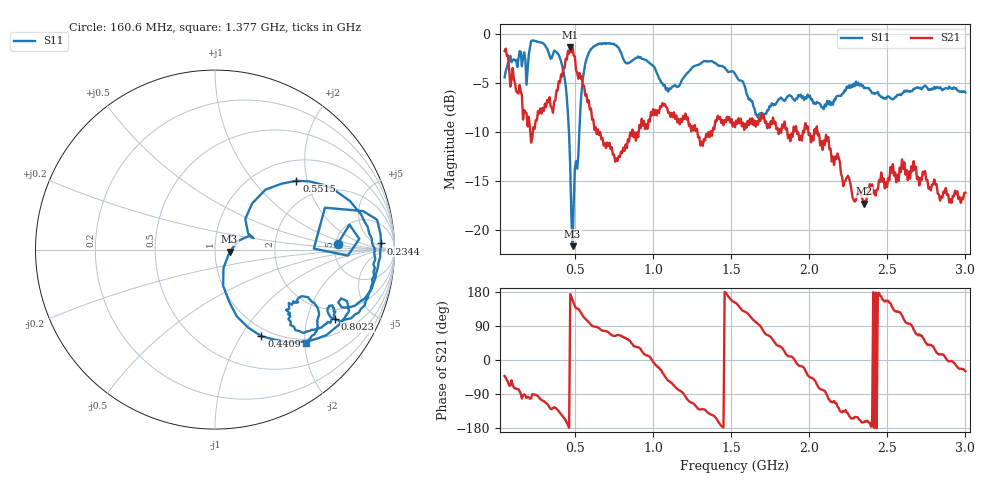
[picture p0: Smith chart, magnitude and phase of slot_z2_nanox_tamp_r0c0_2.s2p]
! nanovna_capture.py 2026-10-26T21:34:22+0900
! NanoVNA-F_V2 fw 0.6.0 SN 4A3639384505514B
! cal: load open short thru cal'ed  over 50000000-3000000000 Hz, 201 points
! points 401, avg 4
! slot line z=1.6, tampered Nano X, 0 deg, centred, placement 2
# HZ S RI R 50
! S12 and S22 are not measured (written as 0)
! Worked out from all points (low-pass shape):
!   401 points, 50 MHz to 3 GHz, reference 50 ohm
!   highest |S21| = -1.34 dB at 470.4 MHz (marker M1); lowest = -17.3 dB at 2.351 GHz (marker M2)
!   |S21| within 3 dB of the highest: start of sweep to 82.29 MHz; 418.9 MHz to 519.3 MHz (100.4 MHz wide, 21.4 % of centre) (the widest 2 of 6)
!   lowest |S11| = -21.7 dB at 485.1 MHz (marker M3), VSWR 1.18, Z = 58.9 - j1.41 ohm
!   |S11| at or under -10 dB: 461.7 MHz to 528.4 MHz (66.68 MHz wide, 13.5 % of centre)
!   S12 and S22 are empty: the file has one direction only
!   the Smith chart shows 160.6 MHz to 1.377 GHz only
!   S11 on the Smith chart (normalised r, x): 160.6 MHz: 5.25, +0.61; 234.4 MHz: 21, +10; 440.9 MHz: 0.89, -1.23; 551.5 MHz: 1.45, +1.72; 802.2 MHz: 1.56, -2.98; 1.377 GHz: 0.92, -2.02
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5e7  0.3945 0.4521  0.6048 -0.5503  0 0  0 0
1.60625e8  0.6829 0.0307  -0.0985 -0.4754  0 0  0 0
2.34375e8  0.925 0.034  -0.00643 -0.3338  0 0  0 0
3.81875e8  0.6939 -0.4159  -0.3196 -0.403  0 0  0 0
4.40875e8  0.2582 -0.4823  -0.6982 -0.2658  0 0  0 0
4.70375e8  0.0455 -0.2021  -0.8521 0.0926  0 0  0 0
4.85125e8  0.0816 -0.0119  -0.7929 0.3122  0 0  0 0
5.44125e8  0.3708 0.3669  -0.3107 0.5219  0 0  0 0
5.515e8  0.4533 0.384  -0.2373 0.4885  0 0  0 0
6.4e8  0.8765 0.0309  0.0132 0.3074  0 0  0 0
8.0225e8  0.6679 -0.386  0.1179 0.2158  0 0  0 0
1.03825e9  0.4195 -0.4195  0.3712 -0.1345  0 0  0 0
1.193125e9  0.5257 -0.2762  0.0168 -0.3813  0 0  0 0
1.3775e9  0.5063 -0.5211  -0.2473 -0.1733  0 0  0 0
1.525e9  0.2903 -0.5537  -0.2931 0.1596  0 0  0 0
1.694625e9  0.2154 -0.331  0.0339 0.3871  0 0  0 0
1.842125e9  0.2925 -0.3475  0.3299 0.1363  0 0  0 0
2.019125e9  0.2279 -0.4048  0.2025 -0.2224  0 0  0 0
2.351e9  0.208 -0.4855  -0.1307 -0.0369  0 0  0 0
2.51325e9  0.1372 -0.4572  -0.1563 0.0862  0 0  0 0
2.668125e9  0.1255 -0.5092  0.0372 0.2209  0 0  0 0
3e9  -0.1271 -0.4866  0.1345 -0.0758  0 0  0 0
